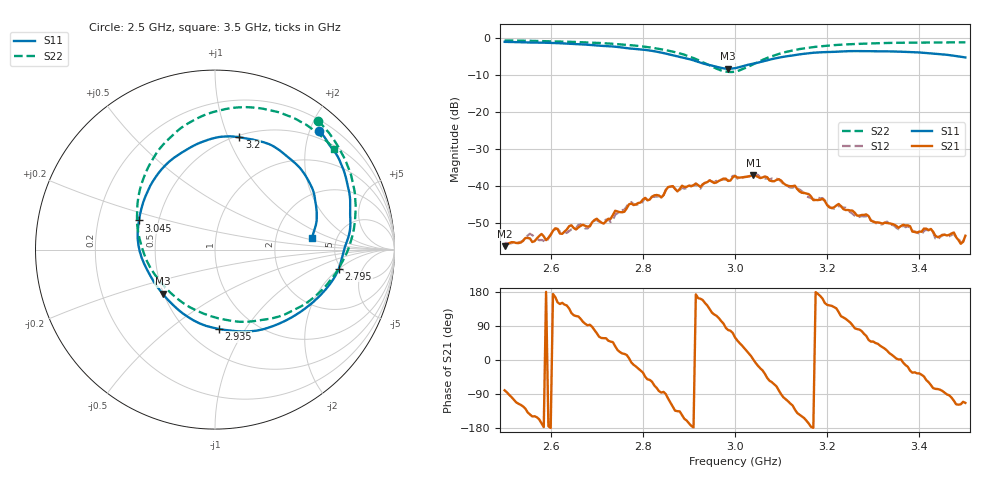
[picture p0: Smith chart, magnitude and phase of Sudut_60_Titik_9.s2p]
# Hz S RI R 50
! CMT, C1220, 16058040, 17.2.0/1
! Date: 15/08/2018 09:45:37
! Data: Format (Calibration Info)
! Freq  S11: Re/Im (F2)  S21: Re/Im (F2)  S12: Re/Im (F2)  S22: Re/Im (F2)
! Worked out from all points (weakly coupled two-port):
!   201 points, 2.5 GHz to 3.5 GHz, reference 50 ohm
!   highest |S21| = -37.11 dB at 3.04 GHz (marker M1); lowest = -56.3 dB at 2.5 GHz (marker M2)
!   lowest |S11| = -8.4 dB at 2.985 GHz (marker M3), VSWR 2.24, Z = 24.7 - j14.2 ohm
!   |S11| at or under -10 dB: nowhere
!   |S22| runs from -9.3 to -0.7 dB; largest |S21 - S12| = 0.0012
!   S11 on the Smith chart (normalised r, x): 2.5 GHz: 0.37, +2.15; 2.795 GHz: 4.77, -1.98; 2.935 GHz: 0.70, -0.77; 3.045 GHz: 0.39, +0.16; 3.2 GHz: 0.52, +1.10; 3.5 GHz: 3.25, +0.59
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2.5e9  0.5802 0.6618  0.000267 -0.00151  0.000233 -0.00168  0.5741 0.7181
2.555e9  0.6437 0.5743  -0.00158 -0.00116  -0.00183 -0.00133  0.6353 0.65
2.59e9  0.6884 0.5096  -0.00186 4.57e-06  -0.00173 -0.00016  0.6717 0.5975
2.61e9  0.7053 0.4704  -0.0026 0.00065  -0.00255 0.000607  0.692 0.5633
2.67e9  0.7482 0.3172  -0.000564 0.00294  -0.000343 0.00286  0.7475 0.4457
2.715e9  0.7535 0.1825  0.00166 0.00262  0.00172 0.00281  0.7759 0.3338
2.795e9  0.6897 -0.1063  0.00529 -0.00276  0.00496 -0.00266  0.7658 0.0773
2.835e9  0.5878 -0.2532  0.00103 -0.00737  0.00115 -0.00711  0.7035 -0.0784
2.935e9  0.0208 -0.4421  -0.00954 0.00545  -0.0098 0.00511  0.2153 -0.3987
2.985e9  -0.2917 -0.2464  0.0022 0.0115  0.00169 0.0117  -0.1803 -0.2958
3e9  -0.3596 -0.147  0.00691 0.0118  0.00753 0.0114  -0.2808 -0.2065
3.04e9  -0.4281 0.128  0.0139 0.00017  0.0143 0.000696  -0.4289 0.1004
3.045e9  -0.424 0.1622  0.0135 -0.00191  0.0144 -0.0018  -0.4338 0.1417
3.105e9  -0.2534 0.4919  -0.00158 -0.0108  -0.00177 -0.0105  -0.3246 0.5402
3.17e9  0.0216 0.6272  -0.00644 -0.000122  -0.00652 -0.000633  -0.0698 0.7449
3.2e9  0.1357 0.6256  -0.00453 0.00312  -0.00443 0.00336  0.0428 0.7795
3.335e9  0.4846 0.4407  0.00297 0.000968  0.00306 0.000848  0.4162 0.7424
3.425e9  0.5617 0.2498  0.00107 -0.0024  0.00104 -0.00239  0.5714 0.6492
3.44e9  0.5667 0.2099  0.000469 -0.00198  0.000437 -0.00182  0.5932 0.6312
3.475e9  0.5583 0.1238  -0.000705 -0.00224  -0.000653 -0.00214  0.6358 0.5906
3.49e9  0.5468 0.0867  -0.000751 -0.00148  -0.00087 -0.00147  0.6531 0.5715
3.5e9  0.5387 0.0638  -0.000838 -0.00196  -0.0009 -0.00177  0.6645 0.5589
